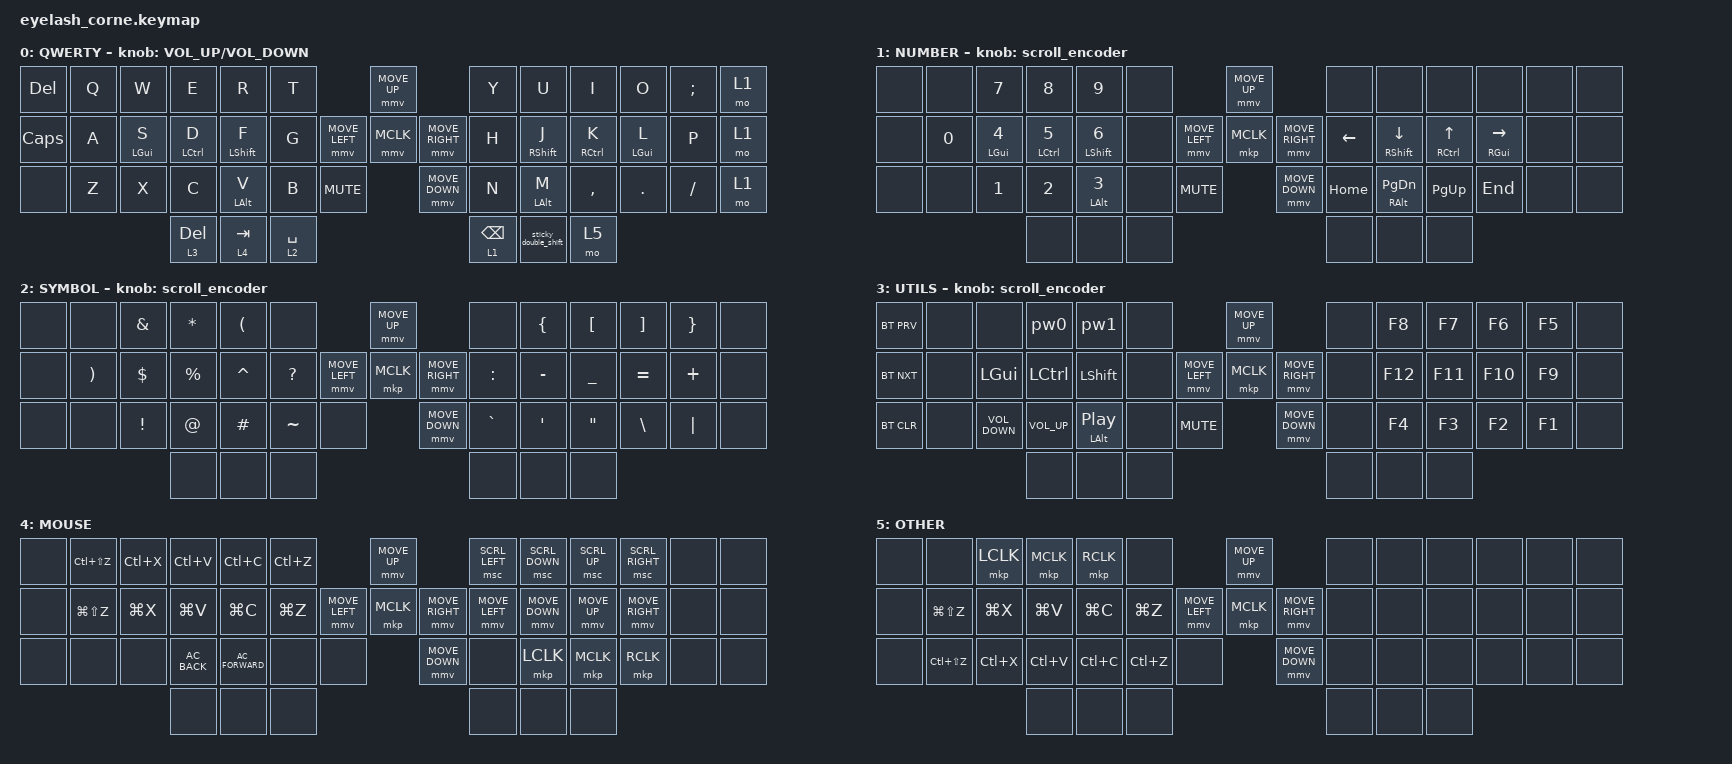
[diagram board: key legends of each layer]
#define ZMK_POINTING_DEFAULT_MOVE_VAL 1500  // default: 600
#define ZMK_POINTING_DEFAULT_SCRL_VAL 20    // default: 10

#include <input/processors.dtsi>
#include <zephyr/dt-bindings/input/input-event-codes.h>
#include <behaviors.dtsi>
#include <dt-bindings/zmk/bt.h>
#include <dt-bindings/zmk/keys.h>
#include <dt-bindings/zmk/pointing.h>
#include <dt-bindings/zmk/rgb.h>

&mmv_input_listener { input-processors = <&zip_xy_scaler 2 1>; };

&msc_input_listener { input-processors = <&zip_scroll_scaler 2 1>; };

#define KEYS_R 7 8 9 10 11 12 22 23 24 25 26 27 36 37 38 39 40 41
#define KEYS_L 0 1 2 3 4 5 13 14 15 16 17 18 28 29 30 31 32 33 34
#define KEYS_THUMB 42 43 44 45 46 47

&sk {
    release-after-ms = <900>;
    quick-release;
};

&lt {
    compatible = "zmk,behavior-hold-tap";
    #binding-cells = <2>;
    flavor = "balanced";
    require-prior-idle-ms = <0>;
    tapping-term-ms = <280>;
    quick-tap-ms = <175>;
    bindings = <&mo>, <&kp>;

    hold-trigger-key-positions = <KEYS_R KEYS_L KEYS_THUMB>;
    hold-trigger-on-release;
};

&mt {
    quick-tap-ms = <200>;
    flavor = "tap-preferred";
    tapping-term-ms = <170>;
};

&msc {
    x-input-code = <INPUT_REL_HWHEEL>;
    y-input-code = <INPUT_REL_WHEEL>;
    time-to-max-speed-ms = <0>;
    delay-ms = <0>;
    acceleration-exponent = <0>;
};

&mmv {
    time-to-max-speed-ms = <500>;
    acceleration-exponent = <1>;
    trigger-period-ms = <16>;
};

&soft_off { hold-time-ms = <2000>; };

/ {
    behaviors {
        sticky_double_shift: td0 {
            compatible = "zmk,behavior-tap-dance";
            display-name = "Shift/Caps Lock Tap Dance";
            #binding-cells = <0>;
            bindings = <&sk RSHIFT>, <&double_shift>;
        };

        hml: home_row_mod_left {
            compatible = "zmk,behavior-hold-tap";
            #binding-cells = <2>;
            flavor = "balanced";
            require-prior-idle-ms = <100>;
            tapping-term-ms = <280>;
            quick-tap-ms = <175>;
            bindings = <&kp>, <&kp>;

            hold-trigger-key-positions = <KEYS_R KEYS_THUMB>;
            hold-trigger-on-release;
        };

        hmr: home_row_mod_right {
            compatible = "zmk,behavior-hold-tap";
            #binding-cells = <2>;
            flavor = "balanced";
            require-prior-idle-ms = <100>;
            tapping-term-ms = <280>;
            quick-tap-ms = <175>;
            bindings = <&kp>, <&kp>;

            hold-trigger-key-positions = <KEYS_L KEYS_THUMB>;
            hold-trigger-on-release;
        };
    };

    rgb_encoder: rgb_encoder {
        compatible = "zmk,behavior-sensor-rotate";
        #sensor-binding-cells = <0>;
        bindings = <&rgb_ug RGB_BRI>, <&rgb_ug RGB_BRD>;
    };

    scroll_encoder: scroll_encoder {
        compatible = "zmk,behavior-sensor-rotate";
        #sensor-binding-cells = <0>;
        bindings = <&msc SCRL_DOWN>, <&msc SCRL_UP>;

        tap-ms = <10>;
    };

    combos {
        compatible = "zmk,combos";

        softoff {
            bindings = <&soft_off>;
            key-positions = <1 15 29>;
        };

        esc {
            bindings = <&kp ESCAPE>;
            key-positions = <31 30>;
        };

        enter {
            bindings = <&kp ENTER>;
            key-positions = <38 39>;
        };
    };

    macros {
        pw0: pw0 {
            compatible = "zmk,behavior-macro";
            #binding-cells = <0>;
            bindings = <&none &kp LS(K) &kp I &kp N &kp D &kp EXCL &kp LS(P) &kp O &kp S &kp T &kp EXCL &kp LS(B) &kp A &kp N &kp A &kp N &kp A &kp EXCL &kp N7>;
            label = "PW0";
            wait-ms = <30>;
            tap-ms = <30>;
        };

        pw1: pw1 {
            compatible = "zmk,behavior-macro";
            #binding-cells = <0>;
            bindings = <&none &kp LS(K) &kp I &kp N &kp D &kp L &kp E &kp EXCL &kp LS(P) &kp H &kp I &kp L &kp I &kp P &kp S &kp EXCL &kp LS(S) &kp C &kp O &kp T &kp T &kp I &kp E &kp S &kp EXCL &kp N7>;
            label = "PW1";
            wait-ms = <30>;
            tap-ms = <30>;
        };

        double_shift: double_shift {
            compatible = "zmk,behavior-macro";
            #binding-cells = <0>;
            bindings = <&kp RIGHT_SHIFT &kp RIGHT_SHIFT>;
            label = "DOUBLE_SHIFT";
        };
    };

    keymap {
        compatible = "zmk,keymap";

        default_layer {
            display-name = "QWERTY";
            bindings = <
&kp DEL   &kp Q  &kp W        &kp E         &kp R            &kp T                                      &mmv MOVE_UP                     &kp Y            &kp U                 &kp I         &kp O            &kp SEMICOLON  &mo 1
&kp CAPS  &kp A  &hml LGUI S  &hml LCTRL D  &hml LSHFT F     &kp G                      &mmv MOVE_LEFT  &mmv MCLK       &mmv MOVE_RIGHT  &kp H            &hmr RSHFT J          &hmr RCTRL K  &hmr LEFT_GUI L  &kp P          &mo 1
&none     &kp Z  &kp X        &kp C         &hml LEFT_ALT V  &kp B        &kp C_MUTE                    &mmv MOVE_DOWN                   &kp N            &hmr LEFT_ALT M       &kp COMMA     &kp DOT          &kp FSLH       &mo 1
                              &lt 3 DELETE  &lt 4 TAB        &lt 2 SPACE                                                                 &lt 1 BACKSPACE  &sticky_double_shift  &mo 5
            >;

            sensor-bindings = <&inc_dec_kp C_VOLUME_UP C_VOLUME_DOWN>;
        };

        number_layer {
            display-name = "NUMBER";
            bindings = <
&none  &none   &kp N7              &kp N8         &kp N9                 &none                                &mmv MOVE_UP                     &none     &none                     &none                &none            &none  &none
&none  &kp N0  &hml LGUI NUMBER_4  &hml LCTRL N5  &hml LSHIFT NUMBER_6   &none                &mmv MOVE_LEFT  &mkp MCLK       &mmv MOVE_RIGHT  &kp LEFT  &hmr RSHIFT DOWN          &hmr RCTRL UP_ARROW  &hmr RGUI RIGHT  &none  &none
&none  &none   &kp NUMBER_1        &kp NUMBER_2   &mt LEFT_ALT NUMBER_3  &none  &kp C_MUTE                    &mmv MOVE_DOWN                   &kp HOME  &hmr RIGHT_ALT PAGE_DOWN  &kp PAGE_UP          &kp END          &none  &none
                                   &none          &none                  &none                                                                 &none     &none                     &none
            >;

            sensor-bindings = <&scroll_encoder>;
        };

        symbol_layer {
            display-name = "SYMBOL";
            bindings = <
&none  &none                  &kp AMPERSAND    &kp ASTERISK  &kp LEFT_PARENTHESIS  &none                                  &mmv MOVE_UP                     &none      &kp LEFT_BRACE  &kp LBKT           &kp RBKT   &kp RIGHT_BRACE  &none
&none  &kp RIGHT_PARENTHESIS  &kp DOLLAR       &kp PERCENT   &kp CARET             &kp QUESTION           &mmv MOVE_LEFT  &mkp MCLK       &mmv MOVE_RIGHT  &kp COLON  &kp MINUS       &kp UNDERSCORE     &kp EQUAL  &kp PLUS         &none
&none  &none                  &kp EXCLAMATION  &kp AT_SIGN   &kp HASH              &kp TILDE     &none                    &mmv MOVE_DOWN                   &kp GRAVE  &kp SQT         &kp DOUBLE_QUOTES  &kp BSLH   &kp PIPE         &none
                                               &none         &none                 &none                                                                   &none      &none           &none
            >;

            sensor-bindings = <&scroll_encoder>;
        };

        utils_layer {
            display-name = "UTILS";
            bindings = <
&bt BT_PRV  &none  &none              &pw0             &pw1                   &none                                &mmv MOVE_UP                     &none  &kp F8   &kp F7   &kp F6   &kp F5  &none
&bt BT_NXT  &none  &kp LGUI           &kp LCTRL        &kp LSHIFT             &none                &mmv MOVE_LEFT  &mkp MCLK       &mmv MOVE_RIGHT  &none  &kp F12  &kp F11  &kp F10  &kp F9  &none
&bt BT_CLR  &none  &kp C_VOLUME_DOWN  &kp C_VOLUME_UP  &mt LALT C_PLAY_PAUSE  &none  &kp C_MUTE                    &mmv MOVE_DOWN                   &none  &kp F4   &kp F3   &kp F2   &kp F1  &none
                                      &none            &none                  &none                                                                 &none  &none    &none
            >;

            sensor-bindings = <&scroll_encoder>;
        };

        mouse_layer {
            display-name = "MOUSE";
            bindings = <
&none  &kp LC(LS(Z))  &kp LC(X)  &kp LC(V)      &kp LC(C)         &kp LC(Z)                           &mmv MOVE_UP                     &msc SCRL_LEFT  &msc SCRL_DOWN  &msc SCRL_UP  &msc SCRL_RIGHT  &none  &none
&none  &kp LG(LS(Z))  &kp LG(X)  &kp LG(V)      &kp LG(C)         &kp LG(Z)           &mmv MOVE_LEFT  &mkp MCLK       &mmv MOVE_RIGHT  &mmv MOVE_LEFT  &mmv MOVE_DOWN  &mmv MOVE_UP  &mmv MOVE_RIGHT  &none  &none
&none  &none          &none      &kp C_AC_BACK  &kp C_AC_FORWARD  &none      &none                    &mmv MOVE_DOWN                   &none           &mkp LCLK       &mkp MCLK     &mkp RCLK        &none  &none
                                 &none          &none             &none                                                                &none           &none           &none
            >;
        };

        other_layer {
            display-name = "OTHER";
            bindings = <
&none  &none          &mkp LCLK  &mkp MCLK  &mkp RCLK  &none                               &mmv MOVE_UP                     &none  &none  &none  &none  &none  &none
&none  &kp LG(LS(Z))  &kp LG(X)  &kp LG(V)  &kp LG(C)  &kp LG(Z)           &mmv MOVE_LEFT  &mkp MCLK       &mmv MOVE_RIGHT  &none  &none  &none  &none  &none  &none
&none  &kp LC(LS(Z))  &kp LC(X)  &kp LC(V)  &kp LC(C)  &kp LC(Z)  &none                    &mmv MOVE_DOWN                   &none  &none  &none  &none  &none  &none
                                 &none      &none      &none                                                                &none  &none  &none
            >;
        };
    };
};
